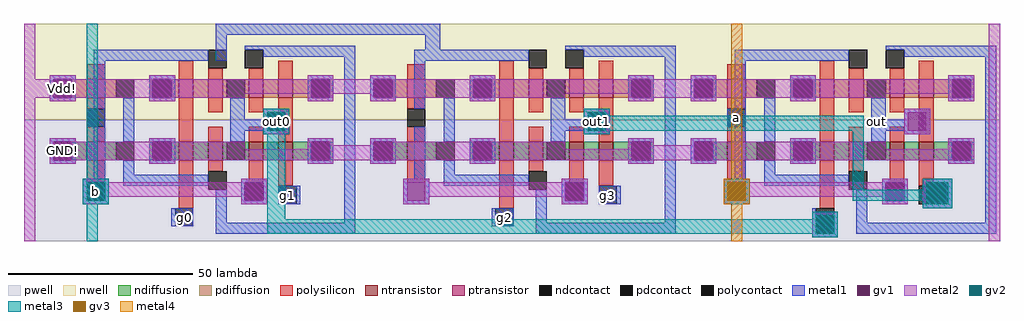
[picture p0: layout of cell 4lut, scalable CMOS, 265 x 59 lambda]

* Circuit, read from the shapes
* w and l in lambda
.subckt 4lut GND! Vdd! a b g0 g1 g2 g3 out out0 out1
M1 2lut_0/na b GND! VSUBS nfet w=5 l=5
M2 n1 g0 GND! VSUBS nfet w=5 l=4
M3 out0 2lut_0/na n1 VSUBS nfet w=5 l=4
M4 n2 b out0 VSUBS nfet w=5 l=4
M5 GND! g1 n2 VSUBS nfet w=5 l=4
M6 2lut_1/na b GND! VSUBS nfet w=5 l=5
M7 n3 g2 GND! VSUBS nfet w=5 l=4
M8 out1 2lut_1/na n3 VSUBS nfet w=5 l=4
M9 n4 b out1 VSUBS nfet w=5 l=4
M10 GND! g3 n4 VSUBS nfet w=5 l=4
M11 2lut_2/na a GND! VSUBS nfet w=5 l=5
M12 n5 out0 GND! VSUBS nfet w=5 l=4
M13 out 2lut_2/na n5 VSUBS nfet w=5 l=4
M14 n6 a out VSUBS nfet w=5 l=4
M15 GND! out1 n6 VSUBS nfet w=5 l=4
M16 2lut_0/na b Vdd! n7 pfet w=5 l=5
M17 n8 g0 Vdd! n7 pfet w=5 l=4
M18 out0 b n8 n7 pfet w=5 l=4
M19 n9 2lut_0/na out0 n7 pfet w=5 l=4
M20 Vdd! g1 n9 n7 pfet w=5 l=4
M21 2lut_1/na b Vdd! n7 pfet w=5 l=5
M22 n10 g2 Vdd! n7 pfet w=5 l=4
M23 out1 b n10 n7 pfet w=5 l=4
M24 n11 2lut_1/na out1 n7 pfet w=5 l=4
M25 Vdd! g3 n11 n7 pfet w=5 l=4
M26 2lut_2/na a Vdd! n7 pfet w=5 l=5
M27 n12 out0 Vdd! n7 pfet w=5 l=4
M28 out a n12 n7 pfet w=5 l=4
M29 n13 2lut_2/na out n7 pfet w=5 l=4
M30 Vdd! out1 n13 n7 pfet w=5 l=4
.ends

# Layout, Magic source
magic
tech scmos
<< nwell >>
rect -2 45 263 57
rect -2 31 4 45
rect 259 31 263 45
<< pwell >>
rect -2 10 2 31
rect 257 10 263 31
rect -2 -2 263 10
<< metal1 >>
rect 50 54 111 57
rect 50 47 53 54
rect 107 48 111 54
rect 15 29 20 34
rect 189 29 194 34
rect 228 29 232 33
rect 67 8 73 13
rect 154 8 160 13
rect 242 7 250 15
rect 38 2 44 7
rect 125 2 131 7
rect 212 -1 219 6
<< metal2 >>
rect -2 42 1 57
rect 5 42 12 43
rect -2 37 12 42
rect 76 38 99 42
rect 163 37 187 42
rect -2 -2 1 37
rect 5 36 12 37
rect 5 19 12 26
rect 81 20 95 24
rect 164 20 183 24
rect 242 7 250 15
rect 212 -1 219 6
rect 260 -2 263 57
<< gv1 >>
rect 243 8 249 14
rect 213 0 218 5
<< metal3 >>
rect 15 15 18 57
rect 63 27 70 34
rect 150 32 157 34
rect 150 28 226 32
rect 150 27 157 28
rect 14 8 21 15
rect 15 -2 18 8
rect 64 4 69 27
rect 188 8 195 15
rect 223 12 226 28
rect 242 12 250 15
rect 223 9 250 12
rect 242 7 250 9
rect 212 4 219 6
rect 64 0 219 4
rect 212 -1 219 0
<< gv2 >>
rect 64 28 69 33
rect 151 28 156 33
rect 15 9 20 14
rect 189 9 194 14
rect 243 8 249 14
rect 213 0 218 5
<< metal4 >>
rect 190 15 193 57
rect 188 8 195 15
rect 190 -2 193 8
<< gv3 >>
rect 189 9 194 14
use 2lut  2lut_2
transform 1 0 221 0 1 31
box -47 -31 41 20
use 2lut  2lut_1
transform 1 0 134 0 1 31
box -47 -31 41 20
use 2lut  2lut_0
transform 1 0 47 0 1 31
box -47 -31 41 20
<< labels >>
rlabel metal2 8 39 9 40 1 Vdd!
rlabel metal2 8 22 9 23 1 GND!
rlabel gv2 66 30 67 31 1 out0
rlabel gv2 153 30 154 31 1 out1
rlabel metal1 191 31 192 32 1 a
rlabel metal1 41 4 42 5 1 g0
rlabel metal1 69 10 70 11 1 g1
rlabel metal1 128 4 129 5 1 g2
rlabel metal1 156 10 157 11 1 g3
rlabel metal1 229 30 230 31 1 out
rlabel gv2 17 11 18 12 1 b
<< end >>

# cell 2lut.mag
magic
tech scmos
<< nwell >>
rect -47 0 41 20
<< pwell >>
rect -47 -31 41 0
<< ntransistor >>
rect -32 -11 -27 -6
rect -7 -11 -3 -6
rect 1 -11 5 -6
rect 12 -11 16 -6
rect 20 -11 24 -6
<< ptransistor >>
rect -32 6 -27 11
rect -7 6 -3 11
rect 1 6 5 11
rect 12 6 16 11
rect 20 6 24 11
<< ndiffusion >>
rect -36 -11 -32 -6
rect -27 -11 -24 -6
rect -15 -11 -14 -6
rect -9 -11 -7 -6
rect -3 -11 1 -6
rect 5 -11 6 -6
rect 11 -11 12 -6
rect 16 -11 20 -6
rect 24 -11 29 -6
rect 34 -11 35 -6
<< pdiffusion >>
rect -36 6 -32 11
rect -27 6 -24 11
rect -15 6 -14 11
rect -9 6 -7 11
rect -3 6 1 11
rect 5 6 6 11
rect 11 6 12 11
rect 16 6 20 11
rect 24 6 29 11
rect 34 6 35 11
<< ndcontact >>
rect -41 -11 -36 -6
rect -24 -11 -19 -6
rect -14 -11 -9 -6
rect 6 -11 11 -6
rect 29 -11 34 -6
<< pdcontact >>
rect -41 6 -36 11
rect -24 6 -19 11
rect -14 6 -9 11
rect 6 6 11 11
rect 29 6 34 11
<< polysilicon >>
rect -32 11 -27 15
rect -7 11 -3 16
rect 1 11 5 14
rect 12 11 16 14
rect 20 11 24 16
rect -32 3 -27 6
rect -32 -6 -27 -2
rect -7 -6 -3 6
rect 1 2 5 6
rect 12 2 16 6
rect 1 -6 5 -2
rect 12 -6 16 -2
rect 20 -6 24 6
rect -32 -17 -27 -11
rect -7 -24 -3 -11
rect 1 -14 5 -11
rect 12 -17 16 -11
rect 20 -18 24 -11
<< polycontact >>
rect 1 14 6 19
rect 11 14 16 19
rect -32 -2 -27 3
rect 1 -19 6 -14
rect 11 -22 16 -17
rect 20 -23 25 -18
rect -8 -29 -3 -24
<< metal1 >>
rect 11 19 41 20
rect -30 16 1 19
rect -42 11 -35 12
rect -42 6 -41 11
rect -36 6 -35 11
rect -42 5 -35 6
rect -30 3 -27 16
rect 16 17 41 19
rect -15 11 -8 12
rect 28 11 35 12
rect -42 -6 -35 -5
rect -42 -11 -41 -6
rect -36 -11 -35 -6
rect -42 -12 -35 -11
rect -30 -16 -27 -2
rect -22 -6 -19 6
rect -15 6 -14 11
rect -9 6 -8 11
rect -15 5 -8 6
rect 7 0 11 6
rect 28 6 29 11
rect 34 6 35 11
rect 28 5 35 6
rect 16 0 23 3
rect 7 -3 23 0
rect -22 -15 -19 -11
rect -15 -6 -8 -5
rect 7 -6 11 -3
rect 16 -4 23 -3
rect -15 -11 -14 -6
rect -9 -11 -8 -6
rect 28 -6 35 -5
rect 28 -11 29 -6
rect 34 -11 35 -6
rect -15 -12 -8 -11
rect 28 -12 35 -11
rect -33 -23 -26 -16
rect -22 -18 1 -15
rect -9 -29 -8 -24
rect 3 -28 6 -19
rect 10 -17 17 -16
rect 10 -22 11 -17
rect 16 -22 17 -17
rect 10 -23 17 -22
rect 38 -28 41 17
rect 3 -31 41 -28
<< metal2 >>
rect -42 11 -35 12
rect -15 11 -8 12
rect 28 11 35 12
rect -42 7 35 11
rect -42 6 11 7
rect -42 5 -35 6
rect -15 5 -8 6
rect 28 5 35 7
rect 16 -4 23 3
rect -42 -6 -35 -5
rect -15 -6 -8 -5
rect -42 -8 11 -6
rect 28 -8 35 -5
rect -42 -11 35 -8
rect -42 -12 -35 -11
rect -15 -12 -8 -11
rect 28 -12 35 -11
rect -33 -17 -26 -16
rect 10 -17 17 -16
rect -33 -21 17 -17
rect -33 -23 -26 -21
rect 10 -23 17 -21
<< gv1 >>
rect -41 6 -36 11
rect -14 6 -9 11
rect 29 6 34 11
rect 17 -3 22 2
rect -41 -11 -36 -6
rect -14 -11 -9 -6
rect 29 -11 34 -6
rect -32 -22 -27 -17
rect 11 -22 16 -17
<< labels >>
rlabel gv1 -39 8 -38 9 1 Vdd!
rlabel polycontact -30 0 -29 1 1 a
rlabel metal1 -22 0 -21 1 1 na
rlabel gv1 -39 -9 -38 -8 1 GND!
rlabel polycontact 22 -21 23 -20 1 g1
rlabel polycontact -6 -27 -5 -26 1 g0
rlabel metal1 8 -1 9 0 1 out
<< end >>
